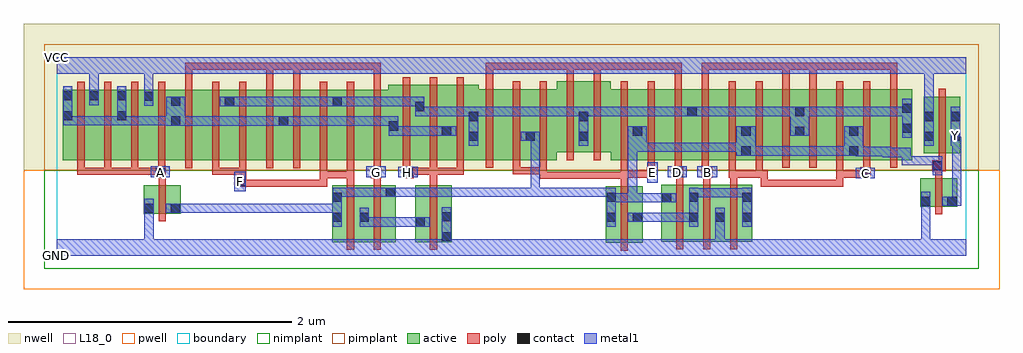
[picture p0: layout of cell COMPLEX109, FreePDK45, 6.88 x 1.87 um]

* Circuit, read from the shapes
.subckt COMPLEX109 A B C D E F G GND H VCC Y
M1 n1 A GND VSUBS nfet w=0.2u l=0.05u
M2 n2 F n1 VSUBS nfet w=0.4u l=0.05u
M3 n1 G n2 VSUBS nfet w=0.4u l=0.05u
M4 GND H n2 VSUBS nfet w=0.4u l=0.05u
M5 n3 E n1 VSUBS nfet w=0.4u l=0.05u
M6 n3 D n1 VSUBS nfet w=0.4u l=0.05u
M7 GND B n3 VSUBS nfet w=0.4u l=0.05u
M8 n3 C GND VSUBS nfet w=0.4u l=0.05u
M9 Y n1 GND VSUBS nfet w=0.2u l=0.05u
M10 VCC A n4 n5 pfet w=0.5u l=0.05u m=4
M11 n6 G n4 n5 pfet w=0.5u l=0.05u
M12 n7 F n6 n5 pfet w=0.5u l=0.05u
M13 n8 F n7 n5 pfet w=0.5u l=0.05u
M14 n4 G n8 n5 pfet w=0.5u l=0.05u
M15 n9 G n4 n5 pfet w=0.5u l=0.05u
M16 n7 F n9 n5 pfet w=0.5u l=0.05u
M17 n10 F n7 n5 pfet w=0.5u l=0.05u
M18 n4 G n10 n5 pfet w=0.5u l=0.05u
M19 n7 H n4 n5 pfet w=0.533u l=0.05u m=3
M20 n11 D n7 n5 pfet w=0.5u l=0.05u
M21 n1 E n11 n5 pfet w=0.5u l=0.05u
M22 n12 E n1 n5 pfet w=0.5u l=0.05u
M23 n7 D n12 n5 pfet w=0.5u l=0.05u
M24 n13 D n7 n5 pfet w=0.5u l=0.05u
M25 n1 E n13 n5 pfet w=0.5u l=0.05u
M26 n14 E n1 n5 pfet w=0.5u l=0.05u
M27 n7 D n14 n5 pfet w=0.5u l=0.05u
M28 n15 B n7 n5 pfet w=0.5u l=0.05u
M29 n1 C n15 n5 pfet w=0.5u l=0.05u
M30 n16 C n1 n5 pfet w=0.5u l=0.05u
M31 n7 B n16 n5 pfet w=0.5u l=0.05u
M32 n17 B n7 n5 pfet w=0.5u l=0.05u
M33 n1 C n17 n5 pfet w=0.5u l=0.05u
M34 n18 C n1 n5 pfet w=0.5u l=0.05u
M35 n7 B n18 n5 pfet w=0.5u l=0.05u
M36 Y n1 VCC n5 pfet w=0.4u l=0.05u
.ends

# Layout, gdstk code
import gdstk
lib = gdstk.Library(unit=1e-6, precision=1e-09)
def R(c, l, rs):  # rectangles x0, y0, x1, y1
    for r in rs: c.add(gdstk.rectangle(r[:2], r[2:], *l))
def A(c, l, x, y, w, h, nx, ny, dx, dy):  # array of equal rectangles
    R(c, l, [(x+i*dx, y+j*dy, x+i*dx+w, y+j*dy+h) for i in range(nx) for j in range(ny)])
active = (1, 0)
pwell = (2, 0)
nwell = (3, 0)
nimplant = (4, 0)
pimplant = (5, 0)
poly = (9, 0)
contact = (10, 0)
metal1 = (11, 0)
L18_0 = (18, 0)
boundary = (235, 0)

complex109 = lib.new_cell('COMPLEX109')
A(complex109, active, 0.8, 0.672, 0.225, 0.5, 4, 1, 0.38, 0)
A(complex109, active, 1.025, 0.672, 0.23, 0.5, 3, 1, 0.38, 0)
A(complex109, active, 4.285, 0.675, 0.23, 0.5, 4, 1, 0.38, 0)
A(complex109, active, 4.44, 0.675, 0.225, 0.5, 4, 1, 0.38, 0)
R(complex109, active, [(3.87,0.092,4.13,0.492), (1.94,0.097,2.205,0.497), (2.13,0.097,2.39,0.497), (2.525,0.097,2.785,0.497), (2.71,0.097,2.785,0.497), (4.262,0.1,4.527,0.5), (4.452,0.1,4.712,0.5), (4.637,0.1,4.902,0.5), (1.94,0.147,2.015,0.497), (2.13,0.147,2.205,0.492), (2.315,0.147,2.39,0.497), (2.525,0.147,2.6,0.497), (3.87,0.147,3.945,0.492), (4.055,0.147,4.13,0.492), (4.262,0.147,4.337,0.5), (4.452,0.147,4.527,0.492), (4.637,0.147,4.712,0.492), (4.827,0.147,4.902,0.5), (0.612,0.297,0.687,0.497), (0.612,0.297,0.872,0.497), (0.797,0.297,0.872,0.497), (6.087,0.347,6.162,0.547), (6.087,0.347,6.347,0.547), (6.272,0.347,6.347,0.547), (0.04,0.672,0.3,1.172), (0.04,0.672,0.115,1.165), (0.225,0.672,0.495,1.172), (0.42,0.672,0.685,1.172), (0.61,0.672,0.875,1.172), (2.165,0.672,2.41,1.172), (2.335,0.672,2.595,1.205), (2.52,0.672,2.785,1.205), (2.71,0.672,2.975,1.205), (2.9,0.675,3.145,1.175), (3.145,0.675,3.375,1.175), (3.3,0.675,3.525,1.175), (3.905,0.675,4.13,1.175), (4.055,0.675,4.285,1.175), (5.805,0.675,6.03,1.175), (5.955,0.675,6.03,1.157), (1.18,0.682,1.255,1.157), (1.94,0.682,2.015,1.157), (3.3,0.682,3.375,1.07), (4.055,0.682,4.13,1.07), (4.82,0.682,4.895,1.07), (5.58,0.682,5.655,1.07), (2.52,0.722,2.595,1.19), (6.11,0.722,6.37,1.122), (6.11,0.722,6.185,1.057), (6.295,0.722,6.37,1.057), (3.525,0.73,3.75,1.23), (3.675,0.73,3.905,1.23), (0.225,0.762,0.3,1.165), (0.42,0.762,0.495,1.165), (0.61,0.762,0.685,1.172), (0.8,0.762,0.875,1.172), (1.56,0.762,1.635,1.07), (2.335,0.762,2.41,1.07), (2.71,0.762,2.785,1.07), (2.9,0.762,2.975,1.157), (3.675,0.762,3.75,1.157), (4.44,0.762,4.515,1.167), (5.2,0.762,5.275,1.157)])
R(complex109, pwell, [(-0.235,-0.235,6.645,0.602)])
R(complex109, nwell, [(-0.235,0.602,6.645,1.635)])
R(complex109, nimplant, [(-0.09,-0.09,6.5,0.602)])
R(complex109, pimplant, [(-0.09,0.602,6.5,1.49)])
A(complex109, poly, 4.367, 0.045, 0.05, 0.51, 3, 1, 0.19, 0)
A(complex109, poly, 4.367, 0.505, 0.05, 0.095, 3, 1, 0.19, 0)
A(complex109, poly, 0.145, 0.572, 0.05, 0.095, 4, 1, 0.19, 0)
A(complex109, poly, 2.44, 0.572, 0.05, 0.095, 3, 1, 0.19, 0)
A(complex109, poly, 4.165, 0.575, 0.05, 0.095, 3, 1, 0.19, 0)
A(complex109, poly, 0.145, 0.617, 0.05, 0.61, 12, 1, 0.19, 0)
A(complex109, poly, 2.44, 0.617, 0.05, 0.643, 3, 1, 0.19, 0)
A(complex109, poly, 3.025, 0.62, 0.05, 0.61, 3, 1, 0.19, 0)
A(complex109, poly, 3.975, 0.62, 0.05, 0.61, 11, 1, 0.19, 0)
R(complex109, poly, [(3.975,0.037,4.025,0.547), (2.045,0.042,2.095,0.552), (2.235,0.042,2.285,0.552), (2.63,0.042,2.68,0.552), (0.717,0.242,0.767,0.552), (6.192,0.292,6.242,0.602), (1.305,0.485,1.582,0.535), (1.305,0.485,1.355,0.537), (1.532,0.485,1.582,0.535), (1.532,0.485,1.582,0.535), (1.532,0.485,1.582,0.535), (1.532,0.485,1.772,0.535), (1.722,0.485,1.772,0.535), (1.722,0.485,1.905,0.535), (1.855,0.485,1.905,0.597), (1.26,0.487,1.335,0.622), (1.285,0.487,1.355,0.537), (4.962,0.487,5.012,0.6), (4.962,0.487,5.222,0.537), (5.172,0.487,5.222,0.537), (5.172,0.487,5.412,0.537), (5.362,0.487,5.412,0.537), (5.362,0.487,5.412,0.537), (5.362,0.487,5.412,0.537), (5.362,0.487,5.545,0.537), (5.495,0.487,5.545,0.537), (5.495,0.487,5.545,0.537), (5.495,0.487,5.545,0.6), (3.975,0.497,4.025,0.592), (0.717,0.502,0.767,0.597), (2.045,0.502,2.095,0.597), (2.235,0.502,2.285,0.597), (2.63,0.502,2.68,0.622), (3.405,0.542,3.702,0.592), (3.405,0.542,3.455,0.625), (3.652,0.542,3.702,0.592), (3.652,0.542,3.702,0.592), (3.652,0.542,3.702,0.592), (3.652,0.542,3.892,0.592), (3.842,0.542,3.892,0.592), (3.842,0.542,3.892,0.592), (3.842,0.542,3.892,0.592), (3.842,0.542,4.025,0.592), (3.975,0.542,4.025,0.592), (3.975,0.542,4.025,0.592), (3.975,0.542,4.025,0.6), (0.692,0.547,0.767,0.622), (1.855,0.547,1.905,0.597), (1.855,0.547,1.905,0.597), (1.855,0.547,1.905,0.667), (1.855,0.547,2.095,0.597), (2.045,0.547,2.095,0.597), (2.045,0.547,2.095,0.597), (2.045,0.547,2.095,0.597), (2.045,0.547,2.095,0.667), (2.212,0.547,2.287,0.622), (2.44,0.547,2.515,0.622), (3.975,0.55,4.025,0.67), (3.975,0.55,4.207,0.6), (4.157,0.55,4.207,0.6), (4.157,0.55,4.207,0.6), (4.157,0.55,4.232,0.625), (4.337,0.55,4.417,0.625), (4.545,0.55,4.62,0.625), (4.735,0.55,4.785,0.67), (4.735,0.55,4.797,0.6), (4.747,0.55,4.797,0.6), (4.747,0.55,4.797,0.6), (4.747,0.55,4.975,0.6), (4.925,0.55,4.975,0.6), (4.925,0.55,4.975,0.67), (4.925,0.55,5.012,0.6), (5.495,0.55,5.712,0.6), (5.495,0.55,5.545,0.67), (5.662,0.55,5.712,0.6), (5.662,0.55,5.712,0.6), (5.662,0.55,5.737,0.625), (6.192,0.552,6.242,0.647), (0.145,0.572,0.195,0.622), (0.145,0.572,0.195,0.622), (0.145,0.572,0.195,0.622), (0.145,0.572,0.385,0.622), (0.335,0.572,0.385,0.622), (0.335,0.572,0.385,0.622), (0.335,0.572,0.385,0.622), (0.335,0.572,0.575,0.622), (0.525,0.572,0.575,0.622), (0.525,0.572,0.742,0.622), (0.692,0.572,0.742,0.622), (0.692,0.572,0.742,0.622), (1.095,0.572,1.145,0.667), (1.095,0.572,1.145,0.622), (1.095,0.572,1.145,0.622), (1.095,0.572,1.145,0.622), (1.095,0.572,1.31,0.622), (1.285,0.572,1.335,0.667), (2.235,0.572,2.285,0.667), (2.465,0.572,2.68,0.622), (2.63,0.572,2.68,0.622), (2.63,0.572,2.68,0.622), (2.63,0.572,2.68,0.622), (2.63,0.572,2.87,0.622), (2.82,0.572,2.87,0.622), (2.82,0.572,2.87,0.622), (2.82,0.572,2.87,0.622), (3.215,0.575,3.265,0.67), (3.215,0.575,3.265,0.625), (3.215,0.575,3.265,0.625), (3.215,0.575,3.265,0.625), (3.215,0.575,3.455,0.625), (3.405,0.575,3.455,0.67), (5.685,0.575,5.735,0.67), (6.17,0.597,6.265,0.672), (6.215,0.622,6.265,0.717), (6.215,0.667,6.265,1.177), (3.595,0.675,3.645,1.285), (3.785,0.675,3.835,1.285), (0.905,1.177,0.955,1.36), (1.475,1.177,1.525,1.36), (1.665,1.177,1.715,1.36), (2.235,1.177,2.285,1.36), (3.025,1.18,3.075,1.362), (4.355,1.18,4.405,1.362), (4.545,1.18,4.595,1.362), (5.115,1.18,5.165,1.362), (5.305,1.18,5.355,1.362), (5.875,1.18,5.925,1.362), (3.595,1.235,3.645,1.362), (3.785,1.235,3.835,1.362), (0.905,1.31,0.955,1.36), (0.905,1.31,0.955,1.36), (0.905,1.31,0.955,1.36), (0.905,1.31,1.177,1.36), (1.127,1.31,1.177,1.36), (1.127,1.31,1.177,1.36), (1.127,1.31,1.177,1.36), (1.127,1.31,1.392,1.36), (1.342,1.31,1.392,1.36), (1.342,1.31,1.392,1.36), (1.342,1.31,1.392,1.36), (1.342,1.31,1.525,1.36), (1.475,1.31,1.525,1.36), (1.475,1.31,1.715,1.36), (1.665,1.31,1.715,1.36), (1.665,1.31,1.715,1.36), (1.665,1.31,1.715,1.36), (1.665,1.31,1.962,1.36), (1.912,1.31,1.962,1.36), (1.912,1.31,1.962,1.36), (1.912,1.31,1.962,1.36), (1.912,1.31,2.13,1.36), (2.08,1.31,2.13,1.36), (2.08,1.31,2.13,1.36), (2.08,1.31,2.13,1.36), (2.08,1.31,2.285,1.36), (2.235,1.31,2.285,1.36), (2.235,1.31,2.285,1.36), (2.235,1.31,2.285,1.36), (3.025,1.312,3.075,1.362), (3.025,1.312,3.075,1.362), (3.025,1.312,3.075,1.362), (3.025,1.312,3.245,1.362), (3.195,1.312,3.245,1.362), (3.195,1.312,3.245,1.362), (3.195,1.312,3.245,1.362), (3.195,1.312,3.512,1.362), (3.462,1.312,3.512,1.362), (3.462,1.312,3.512,1.362), (3.462,1.312,3.512,1.362), (3.462,1.312,3.645,1.362), (3.595,1.312,3.645,1.362), (3.595,1.312,3.835,1.362), (3.785,1.312,3.835,1.362), (3.785,1.312,3.835,1.362), (3.785,1.312,3.835,1.362), (3.785,1.312,4.075,1.362), (4.025,1.312,4.075,1.362), (4.025,1.312,4.075,1.362), (4.025,1.312,4.075,1.362), (4.025,1.312,4.207,1.362), (4.157,1.312,4.207,1.362), (4.157,1.312,4.207,1.362), (4.157,1.312,4.207,1.362), (4.157,1.312,4.405,1.362), (4.355,1.312,4.405,1.362), (4.355,1.312,4.405,1.362), (4.355,1.312,4.405,1.362), (4.545,1.312,4.595,1.362), (4.545,1.312,4.595,1.362), (4.545,1.312,4.595,1.362), (4.545,1.312,4.842,1.362), (4.792,1.312,4.842,1.362), (4.792,1.312,4.842,1.362), (4.792,1.312,4.842,1.362), (4.792,1.312,5.032,1.362), (4.982,1.312,5.032,1.362), (4.982,1.312,5.165,1.362), (5.115,1.312,5.165,1.362), (5.115,1.312,5.165,1.362), (5.115,1.312,5.165,1.362), (5.115,1.312,5.355,1.362), (5.305,1.312,5.355,1.362), (5.305,1.312,5.355,1.362), (5.305,1.312,5.355,1.362), (5.305,1.312,5.58,1.362), (5.53,1.312,5.58,1.362), (5.53,1.312,5.58,1.362), (5.53,1.312,5.58,1.362), (5.53,1.312,5.792,1.362), (5.742,1.312,5.792,1.362), (5.742,1.312,5.792,1.362), (5.742,1.312,5.792,1.362), (5.742,1.312,5.925,1.362), (5.875,1.312,5.925,1.362), (5.875,1.312,5.925,1.362), (5.875,1.312,5.925,1.362)])
R(complex109, contact, [(2.715,0.102,2.78,0.167), (2.53,0.205,2.595,0.27), (1.945,0.24,2.01,0.305), (2.135,0.24,2.2,0.305), (3.875,0.24,3.94,0.305), (4.06,0.24,4.125,0.305), (4.457,0.24,4.522,0.305), (4.642,0.24,4.707,0.305), (4.832,0.24,4.897,0.305), (2.715,0.242,2.78,0.307), (0.617,0.302,0.682,0.367), (0.802,0.302,0.867,0.367), (6.092,0.352,6.157,0.417), (6.277,0.352,6.342,0.417), (4.267,0.377,4.332,0.442), (1.945,0.38,2.01,0.445), (3.875,0.38,3.94,0.445), (4.457,0.38,4.522,0.445), (4.832,0.38,4.897,0.445), (2.32,0.415,2.385,0.48), (1.265,0.492,1.33,0.557), (0.697,0.552,0.762,0.617), (2.217,0.552,2.282,0.617), (2.445,0.552,2.51,0.617), (4.162,0.555,4.227,0.62), (4.342,0.555,4.407,0.62), (4.55,0.555,4.615,0.62), (5.667,0.555,5.732,0.62), (6.175,0.602,6.24,0.667), (4.825,0.707,4.89,0.772), (5.585,0.707,5.65,0.772), (2.905,0.81,2.97,0.875), (3.305,0.81,3.37,0.875), (3.68,0.81,3.745,0.875), (6.115,0.81,6.18,0.875), (6.3,0.81,6.365,0.875), (5.205,0.845,5.27,0.91), (2.715,0.847,2.78,0.912), (4.06,0.847,4.125,0.912), (4.825,0.847,4.89,0.912), (5.585,0.847,5.65,0.912), (5.96,0.867,6.025,0.932), (2.34,0.882,2.405,0.947), (0.805,0.917,0.87,0.982), (1.565,0.917,1.63,0.982), (2.905,0.95,2.97,1.015), (3.68,0.95,3.745,1.015), (6.115,0.95,6.18,1.015), (6.3,0.95,6.365,1.015), (0.045,0.955,0.11,1.02), (0.425,0.955,0.49,1.02), (4.445,0.985,4.51,1.05), (5.205,0.985,5.27,1.05), (5.96,1.007,6.025,1.072), (2.525,1.02,2.59,1.085), (1.185,1.055,1.25,1.12), (1.945,1.055,2.01,1.12), (0.805,1.057,0.87,1.122), (0.615,1.092,0.68,1.157), (0.045,1.095,0.11,1.16), (0.23,1.095,0.295,1.16), (0.425,1.095,0.49,1.16)])
R(complex109, metal1, [(0,0,6.41,0.115), (0.617,0.05,0.682,0.115), (0.617,0.05,0.682,0.115), (0.617,0.05,0.682,0.115), (0.617,0.05,0.682,0.115), (0.617,0.05,0.682,0.332), (2.715,0.05,2.78,0.132), (4.642,0.05,4.707,0.27), (6.092,0.05,6.157,0.115), (6.092,0.05,6.157,0.115), (6.092,0.05,6.157,0.115), (6.092,0.05,6.157,0.115), (6.092,0.05,6.157,0.382), (2.715,0.067,2.78,0.342), (1.945,0.205,2.01,0.48), (2.135,0.205,2.2,0.27), (2.135,0.205,2.2,0.27), (2.135,0.205,2.2,0.34), (2.135,0.205,2.337,0.27), (2.272,0.205,2.337,0.27), (2.272,0.205,2.337,0.27), (2.272,0.205,2.337,0.27), (2.272,0.205,2.56,0.27), (2.495,0.205,2.63,0.27), (3.875,0.205,3.94,0.48), (4.457,0.205,4.522,0.48), (4.642,0.205,4.707,0.34), (4.832,0.205,4.897,0.48), (4.025,0.24,4.16,0.305), (4.095,0.24,4.16,0.305), (4.095,0.24,4.16,0.305), (4.095,0.24,4.297,0.305), (4.232,0.24,4.297,0.305), (4.232,0.24,4.297,0.305), (4.232,0.24,4.297,0.305), (4.232,0.24,4.522,0.305), (0.617,0.267,0.682,0.402), (0.767,0.302,0.902,0.367), (0.837,0.302,0.972,0.367), (0.907,0.302,0.972,0.367), (0.907,0.302,1.077,0.367), (1.012,0.302,1.077,0.367), (1.012,0.302,1.11,0.367), (1.045,0.302,1.11,0.367), (1.045,0.302,1.247,0.367), (1.182,0.302,1.247,0.367), (1.182,0.302,1.247,0.367), (1.182,0.302,1.247,0.367), (1.182,0.302,1.422,0.367), (1.357,0.302,1.422,0.367), (1.357,0.302,1.467,0.367), (1.402,0.302,1.467,0.367), (1.402,0.302,1.697,0.367), (1.632,0.302,1.697,0.367), (1.632,0.302,1.697,0.367), (1.632,0.302,1.697,0.367), (1.632,0.302,1.837,0.367), (1.772,0.302,1.837,0.367), (1.772,0.302,1.837,0.367), (1.772,0.302,1.837,0.367), (1.772,0.302,2.01,0.367), (6.092,0.317,6.157,0.452), (6.242,0.352,6.377,0.417), (6.312,0.352,6.377,0.417), (6.312,0.352,6.377,0.417), (6.312,0.352,6.377,0.84), (3.875,0.377,3.94,0.442), (3.875,0.377,3.94,0.442), (3.875,0.377,4.09,0.442), (4.025,0.377,4.09,0.442), (4.025,0.377,4.09,0.442), (4.025,0.377,4.09,0.442), (4.025,0.377,4.297,0.442), (4.025,0.377,4.09,0.797), (4.232,0.377,4.367,0.442), (4.457,0.412,4.54,0.477), (4.475,0.412,4.54,0.477), (4.475,0.412,4.682,0.477), (4.617,0.412,4.682,0.477), (4.617,0.412,4.682,0.477), (4.617,0.412,4.682,0.477), (4.617,0.412,4.897,0.477), (1.945,0.415,2.01,0.48), (1.945,0.415,2.01,0.48), (1.945,0.415,2.2,0.48), (2.135,0.415,2.2,0.48), (2.135,0.415,2.2,0.48), (2.135,0.415,2.2,0.48), (2.135,0.415,2.35,0.48), (2.285,0.415,2.42,0.48), (2.355,0.415,2.42,0.48), (2.355,0.415,2.42,0.48), (2.355,0.415,2.42,0.48), (2.355,0.415,2.42,0.48), (2.355,0.415,2.607,0.48), (2.542,0.415,2.607,0.48), (2.542,0.415,2.745,0.48), (2.68,0.415,2.745,0.48), (2.68,0.415,2.745,0.48), (2.68,0.415,2.745,0.48), (2.68,0.415,2.97,0.48), (2.905,0.415,2.97,0.48), (2.905,0.415,2.97,0.48), (2.905,0.415,2.97,0.48), (2.905,0.415,3.107,0.48), (3.042,0.415,3.107,0.48), (3.042,0.415,3.107,0.48), (3.042,0.415,3.107,0.48), (3.042,0.415,3.267,0.48), (3.202,0.415,3.267,0.48), (3.202,0.415,3.405,0.48), (3.34,0.415,3.405,0.48), (3.34,0.415,3.405,0.48), (3.34,0.415,3.405,0.48), (3.34,0.415,3.542,0.48), (3.34,0.415,3.405,0.875), (3.477,0.415,3.542,0.48), (3.477,0.415,3.542,0.48), (3.477,0.415,3.542,0.48), (3.477,0.415,3.68,0.48), (3.615,0.415,3.68,0.48), (3.615,0.415,3.68,0.48), (3.615,0.415,3.68,0.48), (3.615,0.415,3.94,0.48), (1.252,0.455,1.33,0.592), (4.162,0.515,4.235,0.66), (5.632,0.545,5.767,0.622), (0.662,0.552,0.797,0.63), (2.182,0.552,2.317,0.63), (2.405,0.552,2.545,0.627), (4.307,0.552,4.442,0.63), (4.515,0.555,4.655,0.63), (6.175,0.567,6.24,0.702), (5.955,0.637,6.02,0.702), (5.955,0.637,6.157,0.702), (5.955,0.637,6.02,0.76), (6.092,0.637,6.157,0.702), (6.092,0.637,6.24,0.702), (5.817,0.695,6.02,0.76), (5.817,0.695,5.882,0.767), (5.955,0.695,6.02,0.76), (5.955,0.695,6.02,0.76), (5.955,0.695,6.02,0.76), (5.632,0.702,5.882,0.767), (5.632,0.702,5.697,0.772), (4.79,0.707,4.925,0.912), (4.86,0.707,4.925,0.772), (4.86,0.707,4.925,0.772), (4.86,0.707,5.097,0.772), (5.032,0.707,5.097,0.772), (5.032,0.707,5.285,0.772), (5.22,0.707,5.285,0.772), (5.22,0.707,5.285,0.772), (5.22,0.707,5.285,0.772), (5.22,0.707,5.422,0.772), (5.357,0.707,5.422,0.772), (5.357,0.707,5.442,0.772), (5.377,0.707,5.442,0.772), (5.377,0.707,5.56,0.772), (5.495,0.707,5.56,0.772), (5.495,0.707,5.615,0.772), (5.55,0.707,5.685,0.912), (5.62,0.707,5.697,0.772), (4.025,0.732,4.09,0.797), (4.025,0.732,4.09,0.797), (4.025,0.732,4.16,0.912), (4.095,0.732,4.16,0.797), (4.095,0.732,4.16,0.797), (4.095,0.732,4.337,0.797), (4.272,0.732,4.337,0.797), (4.272,0.732,4.337,0.797), (4.272,0.732,4.337,0.797), (4.272,0.732,4.475,0.797), (4.41,0.732,4.475,0.797), (4.41,0.732,4.475,0.797), (4.41,0.732,4.475,0.797), (4.41,0.732,4.717,0.797), (4.652,0.732,4.717,0.797), (4.652,0.732,4.717,0.797), (4.652,0.732,4.717,0.797), (4.652,0.732,4.855,0.797), (2.905,0.775,2.97,1.05), (3.68,0.775,3.745,1.05), (6.115,0.775,6.18,1.05), (6.3,0.775,6.367,1.05), (6.302,0.775,6.367,0.84), (6.302,0.775,6.377,0.84), (6.312,0.775,6.377,0.84), (6.312,0.775,6.377,0.84), (3.27,0.81,3.405,0.875), (3.34,0.81,3.405,0.875), (3.34,0.81,3.405,0.875), (5.96,0.832,6.025,1.107), (5.17,0.845,5.305,1.05), (2.34,0.847,2.405,0.912), (2.34,0.847,2.405,0.912), (2.34,0.847,2.405,0.982), (2.34,0.847,2.607,0.912), (2.542,0.847,2.607,0.912), (2.542,0.847,2.607,0.912), (2.542,0.847,2.607,0.912), (2.542,0.847,2.745,0.912), (2.68,0.847,2.815,0.912), (0.77,0.917,0.905,1.122), (0.84,0.917,0.972,0.982), (0.907,0.917,0.972,0.982), (0.907,0.917,1.077,0.982), (1.012,0.917,1.077,0.982), (1.012,0.917,1.11,0.982), (1.045,0.917,1.11,0.982), (1.045,0.917,1.247,0.982), (1.182,0.917,1.247,0.982), (1.182,0.917,1.247,0.982), (1.182,0.917,1.247,0.982), (1.182,0.917,1.422,0.982), (1.357,0.917,1.422,0.982), (1.357,0.917,1.422,0.982), (1.357,0.917,1.422,0.982), (1.357,0.917,1.595,0.982), (1.53,0.917,1.665,0.982), (1.6,0.917,1.697,0.982), (1.632,0.917,1.697,0.982), (1.632,0.917,1.835,0.982), (1.77,0.917,1.835,0.982), (1.77,0.917,1.835,0.982), (1.77,0.917,1.835,0.982), (1.77,0.917,2.062,0.982), (1.997,0.917,2.062,0.982), (1.997,0.917,2.062,0.982), (1.997,0.917,2.062,0.982), (1.997,0.917,2.2,0.982), (2.135,0.917,2.2,0.982), (2.135,0.917,2.2,0.982), (2.135,0.917,2.2,0.982), (2.135,0.917,2.405,0.982), (0.045,0.92,0.11,0.985), (0.045,0.92,0.11,0.985), (0.045,0.92,0.11,1.195), (0.045,0.92,0.247,0.985), (0.182,0.92,0.247,0.985), (0.182,0.92,0.247,0.985), (0.182,0.92,0.247,0.985), (0.182,0.92,0.49,0.985), (0.425,0.92,0.49,0.985), (0.425,0.92,0.49,0.985), (0.425,0.92,0.49,1.195), (0.425,0.92,0.695,0.985), (0.63,0.92,0.695,0.985), (0.63,0.92,0.835,0.985), (0.77,0.92,0.835,0.985), (0.77,0.92,0.835,0.985), (2.525,0.985,2.59,1.12), (2.525,0.985,2.832,1.05), (2.767,0.985,2.832,1.05), (2.767,0.985,2.832,1.05), (2.767,0.985,2.832,1.05), (2.767,0.985,2.97,1.05), (2.905,0.985,2.97,1.05), (2.905,0.985,2.97,1.05), (2.905,0.985,3.107,1.05), (3.042,0.985,3.107,1.05), (3.042,0.985,3.107,1.05), (3.042,0.985,3.107,1.05), (3.042,0.985,3.267,1.05), (3.202,0.985,3.267,1.05), (3.202,0.985,3.267,1.05), (3.202,0.985,3.267,1.05), (3.202,0.985,3.405,1.05), (3.34,0.985,3.405,1.05), (3.34,0.985,3.542,1.05), (3.477,0.985,3.542,1.05), (3.477,0.985,3.542,1.05), (3.477,0.985,3.542,1.05), (3.477,0.985,3.745,1.05), (3.68,0.985,3.745,1.05), (3.68,0.985,3.745,1.05), (3.68,0.985,3.952,1.05), (3.887,0.985,3.952,1.05), (3.887,0.985,3.952,1.05), (3.887,0.985,3.952,1.05), (3.887,0.985,4.09,1.05), (4.025,0.985,4.09,1.05), (4.025,0.985,4.09,1.05), (4.025,0.985,4.09,1.05), (4.025,0.985,4.297,1.05), (4.232,0.985,4.297,1.05), (4.232,0.985,4.297,1.05), (4.232,0.985,4.297,1.05), (4.232,0.985,4.475,1.05), (4.41,0.985,4.545,1.05), (4.48,0.985,4.545,1.05), (4.48,0.985,4.545,1.05), (4.48,0.985,4.717,1.05), (4.652,0.985,4.717,1.05), (4.652,0.985,4.717,1.05), (4.652,0.985,4.717,1.05), (4.652,0.985,4.855,1.05), (4.79,0.985,4.855,1.05), (4.79,0.985,4.855,1.05), (4.79,0.985,4.855,1.05), (4.79,0.985,5.097,1.05), (5.032,0.985,5.097,1.05), (5.032,0.985,5.235,1.05), (5.17,0.985,5.235,1.05), (5.17,0.985,5.235,1.05), (5.24,0.985,5.422,1.05), (5.357,0.985,5.422,1.05), (5.357,0.985,5.442,1.05), (5.377,0.985,5.442,1.05), (5.377,0.985,5.56,1.05), (5.495,0.985,5.56,1.05), (5.495,0.985,5.697,1.05), (5.632,0.985,5.697,1.05), (5.632,0.985,5.697,1.05), (5.632,0.985,5.697,1.05), (5.632,0.985,5.882,1.05), (5.817,0.985,5.882,1.05), (5.817,0.985,5.882,1.05), (5.817,0.985,5.882,1.05), (5.817,0.985,6.025,1.05), (6.115,0.985,6.18,1.05), (6.115,0.985,6.18,1.05), (6.115,0.985,6.18,1.35), (1.15,1.055,1.285,1.12), (1.22,1.055,1.285,1.12), (1.22,1.055,1.285,1.12), (1.22,1.055,1.422,1.12), (1.357,1.055,1.422,1.12), (1.357,1.055,1.56,1.12), (1.495,1.055,1.56,1.12), (1.495,1.055,1.56,1.12), (1.495,1.055,1.56,1.12), (1.495,1.055,1.697,1.12), (1.632,1.055,1.697,1.12), (1.632,1.055,1.837,1.12), (1.772,1.055,1.837,1.12), (1.772,1.055,1.837,1.12), (1.772,1.055,1.837,1.12), (1.772,1.055,1.975,1.12), (1.91,1.055,2.045,1.12), (1.98,1.055,2.045,1.12), (1.98,1.055,2.045,1.12), (1.98,1.055,2.2,1.12), (2.135,1.055,2.2,1.12), (2.135,1.055,2.2,1.12), (2.135,1.055,2.2,1.12), (2.135,1.055,2.337,1.12), (2.272,1.055,2.337,1.12), (2.272,1.055,2.337,1.12), (2.272,1.055,2.337,1.12), (2.272,1.055,2.59,1.12), (0.615,1.057,0.68,1.192), (0.23,1.06,0.295,1.195), (0.615,1.127,0.68,1.35), (0.23,1.13,0.295,1.35), (0,1.285,6.41,1.4), (0.23,1.285,0.295,1.35), (0.23,1.285,0.295,1.35), (0.615,1.285,0.68,1.35), (0.615,1.285,0.68,1.35)])
R(complex109, L18_0, [(0,0,6.41,0.115), (0.617,0.05,0.682,0.115), (0.617,0.05,0.682,0.115), (0.617,0.05,0.682,0.115), (0.617,0.05,0.682,0.115), (0.617,0.05,0.682,0.332), (2.715,0.05,2.78,0.132), (4.642,0.05,4.707,0.27), (6.092,0.05,6.157,0.115), (6.092,0.05,6.157,0.115), (6.092,0.05,6.157,0.115), (6.092,0.05,6.157,0.115), (6.092,0.05,6.157,0.382), (2.715,0.067,2.78,0.342), (4.642,0.205,4.707,0.34), (0.617,0.267,0.682,0.402), (6.092,0.317,6.157,0.452), (6.242,0.352,6.377,0.417), (6.312,0.352,6.377,0.417), (6.312,0.352,6.377,0.417), (6.312,0.352,6.377,0.84), (1.252,0.455,1.33,0.592), (1.262,0.492,1.327,0.557), (4.162,0.515,4.235,0.66), (5.632,0.545,5.767,0.622), (5.667,0.547,5.732,0.612), (0.662,0.552,0.797,0.63), (0.697,0.552,0.762,0.617), (2.182,0.552,2.317,0.63), (2.217,0.552,2.282,0.617), (2.405,0.552,2.545,0.627), (2.442,0.552,2.507,0.617), (4.307,0.552,4.442,0.63), (4.342,0.552,4.407,0.617), (4.515,0.555,4.655,0.63), (4.167,0.557,4.232,0.622), (4.552,0.557,4.617,0.622), (6.115,0.775,6.18,1.05), (6.3,0.775,6.367,1.05), (6.302,0.775,6.367,0.84), (6.302,0.775,6.377,0.84), (6.312,0.775,6.377,0.84), (6.312,0.775,6.377,0.84), (6.302,0.812,6.367,0.877), (6.115,0.985,6.18,1.05), (6.115,0.985,6.18,1.05), (6.115,0.985,6.18,1.35), (0.615,1.057,0.68,1.192), (0.23,1.06,0.295,1.195), (0.615,1.127,0.68,1.35), (0.23,1.13,0.295,1.35), (0,1.285,6.41,1.4), (0.23,1.285,0.295,1.35), (0.23,1.285,0.295,1.35), (0.615,1.285,0.68,1.35), (0.615,1.285,0.68,1.35)])
R(complex109, boundary, [(0,0,6.41,1.4)])
complex109.add(gdstk.Label('A', (0.73,0.585), layer=11, texttype=0))
complex109.add(gdstk.Label('B', (4.585,0.59), layer=11, texttype=0))
complex109.add(gdstk.Label('C', (5.7,0.58), layer=11, texttype=0))
complex109.add(gdstk.Label('D', (4.375,0.585), layer=11, texttype=0))
complex109.add(gdstk.Label('E', (4.2,0.59), layer=11, texttype=0))
complex109.add(gdstk.Label('F', (1.295,0.525), layer=11, texttype=0))
complex109.add(gdstk.Label('G', (2.25,0.585), layer=11, texttype=0))
complex109.add(gdstk.Label('H', (2.475,0.585), layer=11, texttype=0))
complex109.add(gdstk.Label('Y', (6.335,0.845), layer=11, texttype=0))
complex109.add(gdstk.Label('VCC', (0,1.4), layer=11, texttype=0))
complex109.add(gdstk.Label('GND', (0,0), layer=11, texttype=0))

lib.write_gds('COMPLEX109.gds')
